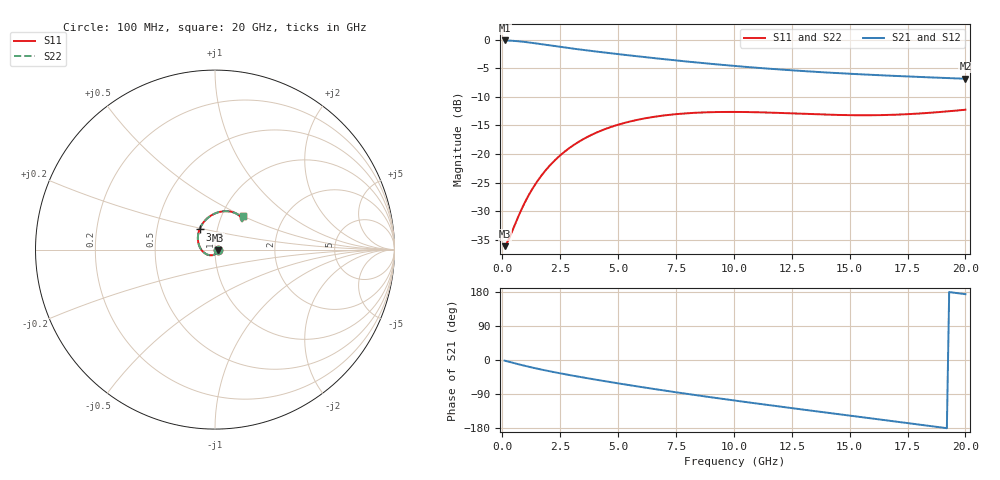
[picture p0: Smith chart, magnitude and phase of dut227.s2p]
! Created with skrf 1.9.0 (http://scikit-rf.org).
# GHz S RI R 50.0
!freq ReS11 ImS11 ReS21 ImS21 ReS12 ImS12 ReS22 ImS22
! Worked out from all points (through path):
!   200 points, 100 MHz to 20 GHz, reference 50 ohm
!   highest |S21| = -0.14 dB at 100 MHz (marker M1); lowest = -6.8 dB at 20 GHz (marker M2)
!   group delay of S21, straight-line fit = 24.5 ps
!   lowest |S11| = -36.1 dB at 100 MHz (marker M3), VSWR 1.03, Z = 51.5 - j0.501 ohm
!   |S11| at or under -10 dB: start of sweep to end of sweep
!   |S22| runs from -36.1 to -12.3 dB; largest |S21 - S12| = 2.4e-15
!   S11 on the Smith chart (normalised r, x): 100 MHz: 1.03, -0.01; 3.7 GHz: 0.82, +0.19; 20 GHz: 1.25, +0.50
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0.1  0.0148 -0.00486  0.984 -0.0282  0.984 -0.0282  0.0148 -0.00486
0.3  0.0115 -0.0143  0.9779 -0.0839  0.9779 -0.0839  0.0115 -0.0143
0.7  -0.00443 -0.0282  0.9498 -0.1887  0.9498 -0.1887  -0.00443 -0.0282
1  -0.0217 -0.0318  0.9181 -0.2591  0.9181 -0.2591  -0.0217 -0.0318
1.3  -0.0404 -0.0286  0.8802 -0.3212  0.8802 -0.3212  -0.0404 -0.0286
1.6  -0.058 -0.0192  0.8387 -0.3754  0.8387 -0.3754  -0.058 -0.0192
2  -0.0771 0.000625  0.7807 -0.4365  0.7807 -0.4365  -0.0771 0.000625
2.5  -0.0916 0.0325  0.7071 -0.4985  0.7071 -0.4985  -0.0916 0.0325
3  -0.0955 0.0669  0.6341 -0.5479  0.6341 -0.5479  -0.0955 0.0669
3.5  -0.0903 0.1001  0.5623 -0.5873  0.5623 -0.5873  -0.0903 0.1001
3.7  -0.0862 0.1125  0.5339 -0.6006  0.5339 -0.6006  -0.0862 0.1125
4.4  -0.0652 0.1504  0.4364 -0.6373  0.4364 -0.6373  -0.0652 0.1504
5.2  -0.0332 0.1821  0.3292 -0.6624  0.3292 -0.6624  -0.0332 0.1821
6.8  0.0353 0.2119  0.1327 -0.6683  0.1327 -0.6683  0.0353 0.2119
8.4  0.0915 0.2106  -0.0338 -0.6305  -0.0338 -0.6305  0.0915 0.2106
10.1  0.1298 0.1937  -0.1765 -0.5602  -0.1765 -0.5602  0.1298 0.1937
11.7  0.1477 0.1757  -0.2815 -0.4768  -0.2815 -0.4768  0.1477 0.1757
13.4  0.153 0.1622  -0.3654 -0.3769  -0.3654 -0.3769  0.153 0.1622
15  0.1512 0.1578  -0.4208 -0.276  -0.4208 -0.276  0.1512 0.1578
16.7  0.1479 0.1623  -0.4555 -0.1646  -0.4555 -0.1646  0.1479 0.1623
18.3  0.148 0.1733  -0.4656 -0.0589  -0.4656 -0.0589  0.148 0.1733
20  0.1544 0.1886  -0.4524 0.0499  -0.4524 0.0499  0.1544 0.1886
